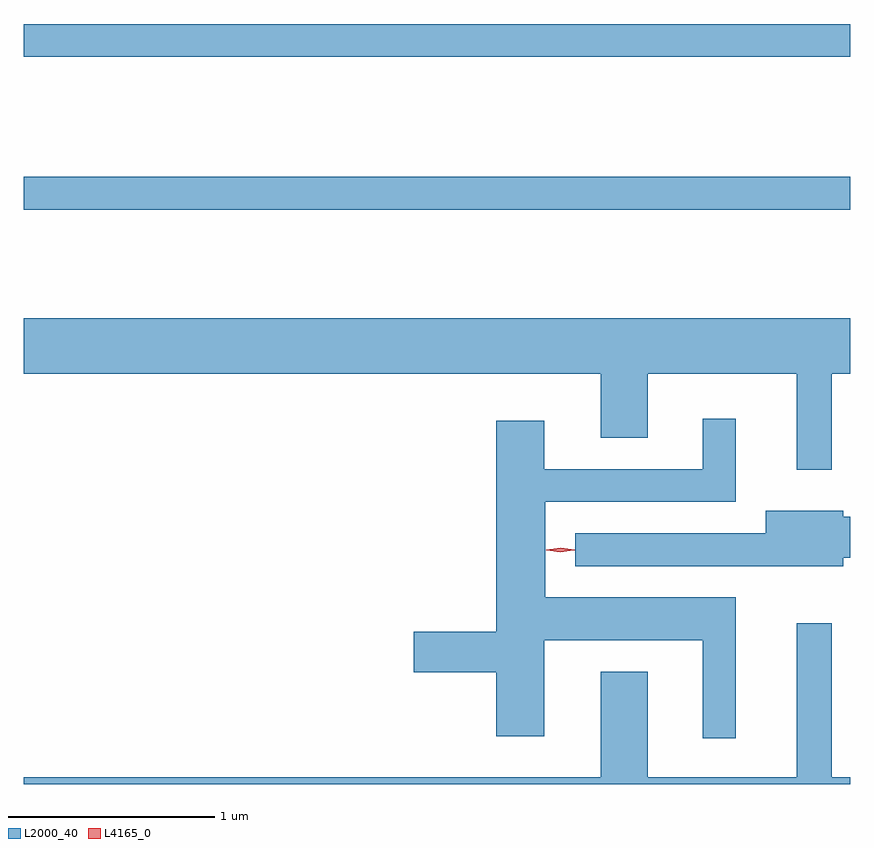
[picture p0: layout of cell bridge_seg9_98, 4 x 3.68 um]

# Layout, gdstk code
import gdstk
lib = gdstk.Library(unit=1e-6, precision=1e-09)
def R(c, l, rs):  # rectangles x0, y0, x1, y1
    for r in rs: c.add(gdstk.rectangle(r[:2], r[2:], *l))
def P(c, l, *ps):  # polygons
    for p in ps: c.add(gdstk.Polygon(p, *l))
L2000_40 = (2000, 40)
L4165_0 = (4165, 0)

bridge_seg9_98 = lib.new_cell('bridge_seg9_98')
R(bridge_seg9_98, L2000_40, [(1798.089,1965.971,1802.089,1966.129), (1798.089,1966.711,1802.089,1966.869)])
P(bridge_seg9_98, L2000_40, [(1801.999,1965.176),(1802.089,1965.176),(1802.089,1965.444),(1798.089,1965.444),(1798.089,1965.176),(1800.881,1965.176),(1800.881,1964.866),(1801.109,1964.866),(1801.109,1965.176),(1801.831,1965.176),(1801.831,1964.713),(1801.999,1964.713)],
  [(1801.534,1964.094),(1800.614,1964.094),(1800.614,1964.556),(1801.534,1964.556),(1801.534,1964.958),(1801.376,1964.958),(1801.376,1964.714),(1800.609,1964.714),(1800.609,1964.949),(1800.376,1964.949),(1800.376,1963.929),(1799.976,1963.929),(1799.976,1963.731),(1800.376,1963.731),(1800.376,1963.421),(1800.609,1963.421),(1800.609,1963.886),(1801.376,1963.886),(1801.376,1963.413),(1801.534,1963.413)],
  [(1802.054,1964.286),(1802.089,1964.286),(1802.089,1964.484),(1802.054,1964.484),(1802.054,1964.514),(1801.681,1964.514),(1801.681,1964.404),(1800.758,1964.404),(1800.758,1964.246),(1802.054,1964.246)],
  [(1802.089,1963.224),(1801.999,1963.224),(1801.999,1963.968),(1801.831,1963.968),(1801.831,1963.224),(1801.109,1963.224),(1801.109,1963.734),(1800.881,1963.734),(1800.881,1963.224),(1798.089,1963.224),(1798.089,1963.191),(1802.089,1963.191)])
P(bridge_seg9_98, L4165_0, [(1800.687,1964.314),(1800.618,1964.323),(1800.617,1964.324),(1800.618,1964.324),(1800.687,1964.334),(1800.756,1964.324),(1800.756,1964.324),(1800.756,1964.323)],
  [(1800.686,1964.312),(1800.62,1964.322),(1800.62,1964.322),(1800.62,1964.323),(1800.686,1964.332),(1800.752,1964.323),(1800.753,1964.322),(1800.752,1964.322)])

lib.write_gds('bridge_seg9_98.gds')
